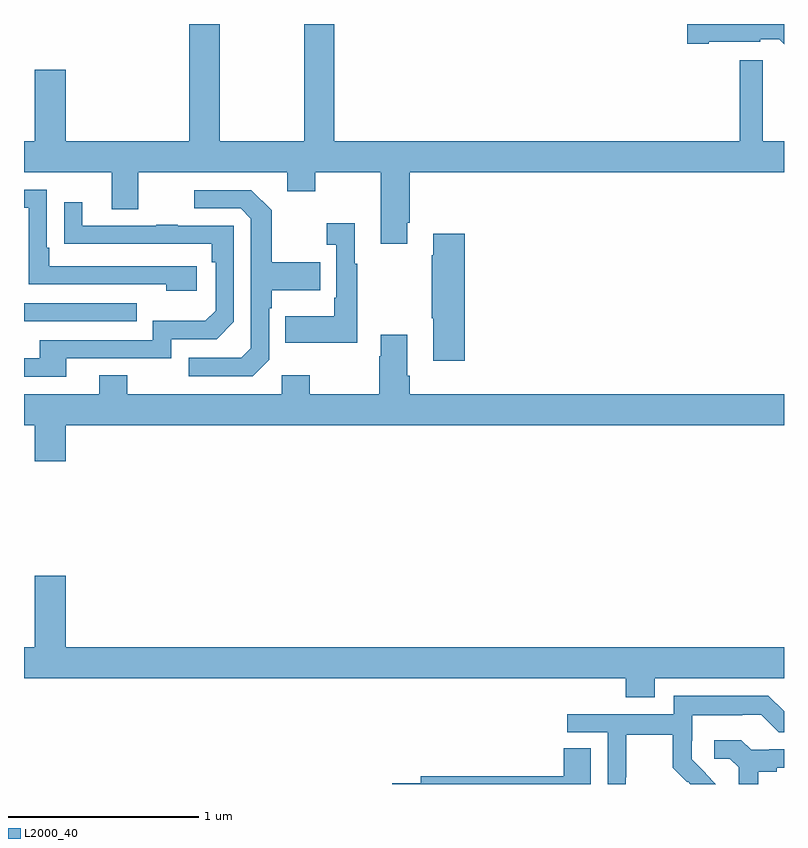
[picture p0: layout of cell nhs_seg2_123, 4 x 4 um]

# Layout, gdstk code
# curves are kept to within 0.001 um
import gdstk
lib = gdstk.Library(unit=1e-6, precision=1e-09)
def R(c, l, rs):  # rectangles x0, y0, x1, y1
    for r in rs: c.add(gdstk.rectangle(r[:2], r[2:], *l))
def P(c, l, *ps):  # polygons
    for p in ps: c.add(gdstk.Polygon(p, *l))
L2000_40 = (2000, 40)

nhs_seg2_123 = lib.new_cell('nhs_seg2_123')
R(nhs_seg2_123, L2000_40, [(117,596.235,117.593,596.331)])
P(nhs_seg2_123, L2000_40, [(121,597.8),(120.492,597.8),(120.492,597.695),(120.604,597.695),(120.604,597.707),(120.876,597.707),(120.876,597.719),(120.975,597.719),(121,597.694)],
  [(119.017,596.755),(119.03,596.755),(119.03,597.02),(121,597.02),(121,597.184),(120.889,597.184),(120.889,597.61),(120.767,597.61),(120.767,597.184),(118.634,597.184),(118.634,597.8),(118.474,597.8),(118.474,597.184),(118.029,597.184),(118.029,597.8),(117.869,597.8),(117.869,597.184),(117.22,597.184),(117.22,597.559),(117.056,597.559),(117.056,597.184),(117,597.184),(117,597.02),(117.461,597.02),(117.461,596.826),(117.601,596.826),(117.601,597.02),(118.385,597.02),(118.385,596.921),(118.533,596.921),(118.533,597.02),(118.877,597.02),(118.877,596.643),(119.017,596.643)],
  [(117.91,596.526),(117.133,596.526),(117.133,596.623),(117.12,596.623),(117.12,596.928),(117,596.928),(117,596.832),(117.024,596.832),(117.024,596.43),(117.749,596.43),(117.749,596.396),(117.91,596.396)],
  [(118.29,596.034),(118.29,596.303),(118.303,596.303),(118.303,596.399),(118.559,596.399),(118.559,596.547),(118.303,596.547),(118.303,596.819),(118.197,596.925),(117.897,596.925),(117.897,596.829),(118.14,596.829),(118.194,596.775),(118.194,596.094),(118.143,596.043),(117.867,596.043),(117.867,595.947),(118.203,595.947)],
  [(117.223,596.04),(117.774,596.04),(117.774,596.142),(118.014,596.142),(118.104,596.232),(118.104,596.739),(117.809,596.739),(117.809,596.744),(117.697,596.744),(117.697,596.739),(117.307,596.739),(117.307,596.863),(117.211,596.863),(117.211,596.644),(117.988,596.643),(117.988,596.546),(118.008,596.546),(118.008,596.292),(117.955,596.239),(117.678,596.239),(117.678,596.136),(117.083,596.136),(117.083,596.04),(117,596.04),(117,595.944),(117.223,595.944)],
  [(118.753,596.539),(118.741,596.539),(118.741,596.752),(118.593,596.752),(118.593,596.639),(118.644,596.639),(118.644,596.359),(118.632,596.359),(118.632,596.263),(118.375,596.263),(118.375,596.123),(118.753,596.123)],
  [(119.321,596.695),(119.153,596.695),(119.153,596.582),(119.146,596.582),(119.146,596.251),(119.153,596.251),(119.153,596.028),(119.321,596.028)],
  [(117.22,595.688),(121,595.688),(121,595.852),(119.03,595.852),(119.03,595.948),(119.017,595.948),(119.017,596.164),(118.877,596.164),(118.877,596.051),(118.87,596.051),(118.87,595.852),(118.503,595.852),(118.503,595.951),(118.356,595.951),(118.356,595.852),(117.543,595.852),(117.543,595.951),(117.395,595.951),(117.395,595.852),(117,595.852),(117,595.688),(117.056,595.688),(117.056,595.5),(117.22,595.5)],
  [(120.319,594.356),(121,594.356),(121,594.52),(117.22,594.52),(117.22,594.895),(117.056,594.895),(117.056,594.52),(117,594.52),(117,594.356),(120.167,594.356),(120.167,594.257),(120.319,594.257)],
  [(120.168,593.836),(120.171,593.836),(120.171,594.06),(120.415,594.06),(120.415,593.885),(120.492,593.808),(120.495,593.811),(120.506,593.8),(120.642,593.8),(120.514,593.93),(120.514,594.027),(120.516,594.027),(120.516,594.161),(120.779,594.161),(120.779,594.165),(120.879,594.165),(120.972,594.072),(121,594.072),(121,594.182),(120.917,594.265),(120.42,594.265),(120.42,594.168),(119.859,594.168),(119.859,594.072),(120.072,594.072),(120.072,593.8),(120.168,593.8)],
  [(120.865,593.864),(120.961,593.864),(120.961,593.886),(121,593.886),(121,593.982),(120.922,593.982),(120.922,593.979),(120.828,593.979),(120.776,594.031),(120.633,594.031),(120.633,593.934),(120.714,593.934),(120.761,593.887),(120.761,593.8),(120.865,593.8)],
  [(119.983,593.987),(119.84,593.987),(119.84,593.84),(119.087,593.84),(119.087,593.804),(118.938,593.804),(118.938,593.8),(119.983,593.8)])

lib.write_gds('nhs_seg2_123.gds')
